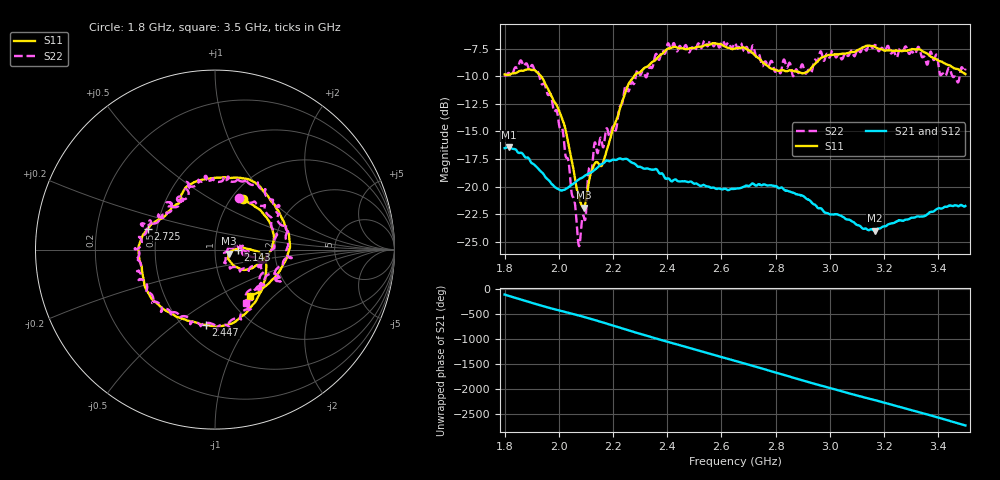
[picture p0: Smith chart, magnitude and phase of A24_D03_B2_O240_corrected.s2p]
! Created with skrf 1.9.0 (http://scikit-rf.org).
# Hz S RI R 50.0
!freq ReS11 ImS11 ReS21 ImS21 ReS12 ImS12 ReS22 ImS22
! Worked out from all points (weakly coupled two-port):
!   1601 points, 1.8 GHz to 3.5 GHz, reference 50 ohm
!   highest |S21| = -16.43 dB at 1.816 GHz (marker M1); lowest = -24.0 dB at 3.165 GHz (marker M2)
!   lowest |S11| = -21.9 dB at 2.091 GHz (marker M3), VSWR 1.17, Z = 58.3 - j2.7 ohm
!   |S11| at or under -10 dB: 1.934 GHz to 2.278 GHz (343.2 MHz wide, 16.3 % of centre)
!   |S22| runs from -25.4 to -6.8 dB; largest |S21 - S12| = 0.0026
!   S11 on the Smith chart (normalised r, x): 1.8 GHz: 1.12, +0.71; 2.143 GHz: 1.30, -0.01; 2.447 GHz: 0.64, -0.66; 2.725 GHz: 0.45, +0.12; 3.5 GHz: 1.25, -0.72
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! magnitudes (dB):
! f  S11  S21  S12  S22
! 1.8 GHz  -9.8  -16.5  -16.5  -9.9
! 1.816 GHz  -9.9  -16.4  -16.4  -9.7
! 1.903 GHz  -9.4  -17.9  -17.9  -9.0
! 1.968 GHz  -11.5  -19.6  -19.6  -11.6
! 2.015 GHz  -14.0  -20.3  -20.3  -15.0
! 2.072 GHz  -20.8  -19.4  -19.4  -25.2
! 2.084 GHz  -21.7  -19.2  -19.2  -23.4
! 2.091 GHz  -21.9  -19.1  -19.2  -22.6
! 2.112 GHz  -19.4  -18.8  -18.8  -18.3
! 2.143 GHz  -17.8  -18.3  -18.2  -17.0
! 2.209 GHz  -14.2  -17.6  -17.5  -14.9
! 2.26 GHz  -10.6  -17.7  -17.7  -11.2
! 2.367 GHz  -8.2  -18.7  -18.6  -8.5
! 2.447 GHz  -7.5  -19.5  -19.5  -7.3
! 2.65 GHz  -7.5  -20.2  -20.2  -7.0
! 2.725 GHz  -8.2  -19.9  -19.9  -8.0
! 2.934 GHz  -9.2  -21.5  -21.4  -9.6
! 3.165 GHz  -7.3  -24.0  -24.0  -7.2
! 3.217 GHz  -7.6  -23.4  -23.4  -7.4
! 3.327 GHz  -7.5  -22.7  -22.7  -7.3
! 3.469 GHz  -9.3  -21.7  -21.7  -10.4
! 3.5 GHz  -9.8  -21.8  -21.7  -9.3
